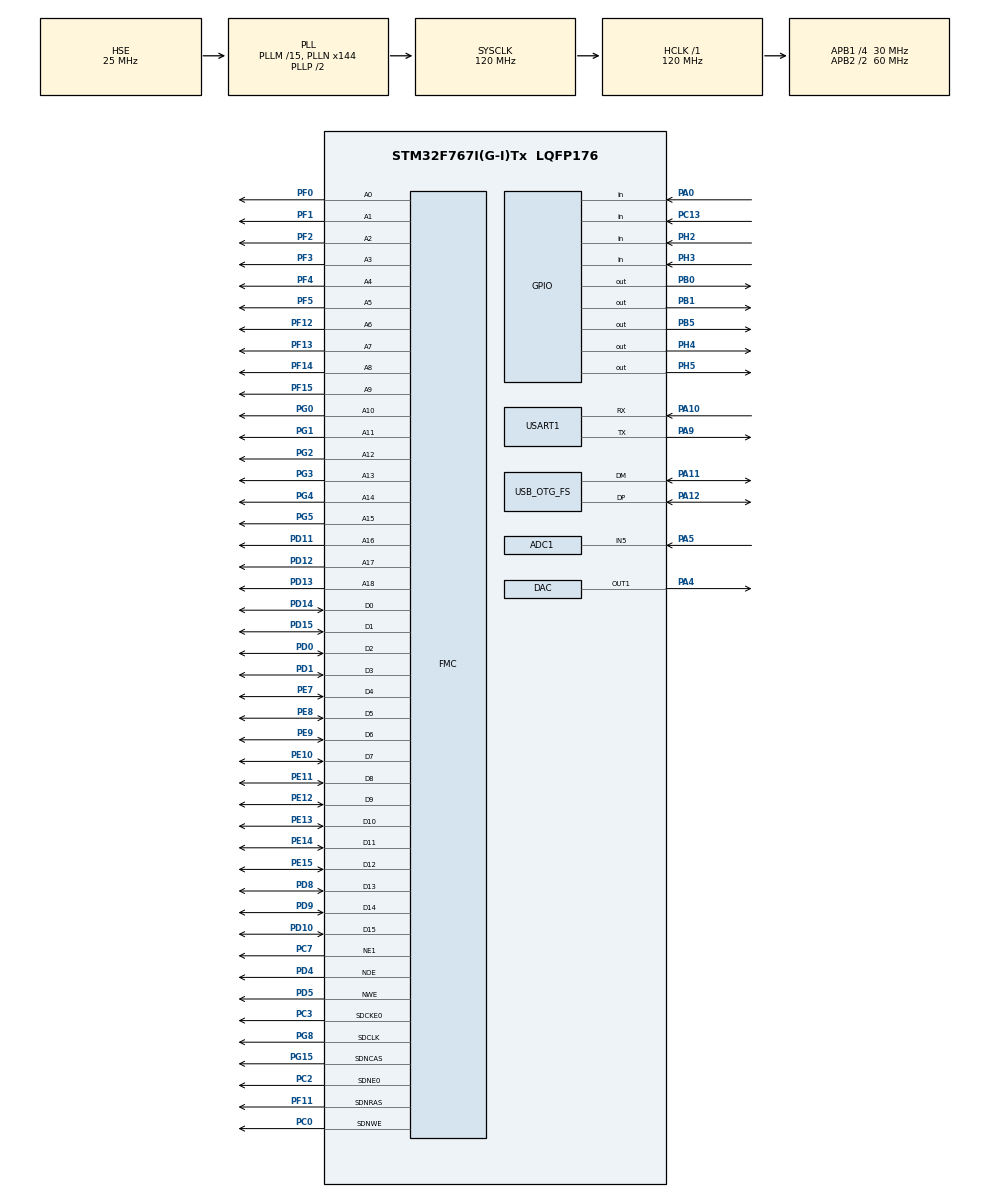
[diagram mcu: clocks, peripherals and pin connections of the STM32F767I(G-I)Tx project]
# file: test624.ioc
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SH.FMC_D7_DA7.1=FMC_D7,sd-16b-d1
SH.FMC_D7_DA7.0=FMC_D7,16b-d1
FMC.SDClockPeriod2=FMC_SDRAM_CLOCK_PERIOD_2
FMC.RCDDelay1=2
FMC.SDClockPeriod1=FMC_SDRAM_CLOCK_PERIOD_2
SH.FMC_A0.0=FMC_A0,19b-a1
SH.FMC_A0.1=FMC_A0,13b-sda1
PA10.GPIO_PuPd=GPIO_PULLUP
PG4.Signal=FMC_A14_BA0
PG8.Signal=FMC_SDCLK
PG0.Signal=FMC_A10
FMC.LoadToActiveDelay1=2
SH.FMC_D5_DA5.1=FMC_D5,sd-16b-d1
SH.FMC_D5_DA5.0=FMC_D5,16b-d1
SH.FMC_NWE.0=FMC_NWE,Sram1
RCC.SYSCLKSource=RCC_SYSCLKSOURCE_PLLCLK
SH.FMC_A15_BA1.0=FMC_A15,19b-a1
SH.FMC_A15_BA1.1=FMC_BA1,FourSdramBanks1
SH.FMC_D9_DA9.0=FMC_D9,16b-d1
SH.FMC_D9_DA9.1=FMC_D9,sd-16b-d1
PH5.Signal=GPIO_Output
SH.FMC_SDNWE.0=FMC_SDNWE,13b-sda1
SH.FMC_D11_DA11.0=FMC_D11,16b-d1
SH.FMC_D11_DA11.1=FMC_D11,sd-16b-d1
PH5.GPIO_ModeDefaultOutputPP=GPIO_MODE_OUTPUT_OD
PD4.Signal=FMC_NOE
RCC.APB2TimFreq_Value=120000000
PC7.Signal=FMC_NE1
PH1/OSC_OUT.Signal=RCC_OSC_OUT
PC3.Signal=FMC_SDCKE0
PD0.Signal=FMC_D2_DA2
PD8.Signal=FMC_D13_DA13
PA10.GPIO_ModeDefaultPP=GPIO_MODE_AF_PP
SH.FMC_A18.0=FMC_A18,19b-a1
FMC.SelfRefreshTime1=6
SH.FMC_A2.1=FMC_A2,13b-sda1
FMC.DataSetupTime1=85
PE9.Signal=FMC_D6_DA6
PB1.GPIO_Speed=GPIO_SPEED_FREQ_HIGH
SH.FMC_A2.0=FMC_A2,19b-a1
SH.FMC_D1_DA1.0=FMC_D1,16b-d1
SH.FMC_D1_DA1.1=FMC_D1,sd-16b-d1
PF3.Signal=FMC_A3
VP_FREERTOS_VS_CMSIS_V1.Mode=CMSIS_V1
PE10.Signal=FMC_D7_DA7
PH3.GPIO_PuPd=GPIO_PULLUP
ADC1.SamplingTime-0\#ChannelRegularConversion=ADC_SAMPLETIME_3CYCLES
Mcu.Package=LQFP176
PB1.Signal=GPIO_Output
NVIC.TimeBase=TIM1_UP_TIM10_IRQn
PD12.Signal=FMC_A17_ALE
FMC.ExtendedDataSetupTime1=15
NVIC.TimeBaseIP=TIM1
PA10.Signal=USART1_RX
FMC.WriteRecoveryTime1=4
SH.FMC_A1.1=FMC_A1,13b-sda1
SH.FMC_A1.0=FMC_A1,19b-a1
PH4.PinState=GPIO_PIN_SET
PH2.Signal=GPIO_Input
RCC.APB2CLKDivider=RCC_HCLK_DIV2
SH.FMC_SDCLK.0=FMC_SDCLK,13b-sda1
PF14.Signal=FMC_A8
RCC.APB1TimFreq_Value=60000000
PH5.GPIO_Speed=GPIO_SPEED_FREQ_HIGH
FMC.RowCycleDelay2=6
FMC.RowCycleDelay1=6
NVIC.USART1_IRQn=true\:5\:0\:false\:false\:true\:true\:true\:true
FMC.ColumnBitsNumber1=FMC_SDRAM_COLUMN_BITS_NUM_9
PD15.Signal=FMC_D1_DA1
SH.FMC_D3_DA3.0=FMC_D3,16b-d1
SH.FMC_D3_DA3.1=FMC_D3,sd-16b-d1
SH.FMC_A4.0=FMC_A4,19b-a1
SH.FMC_A4.1=FMC_A4,13b-sda1
FREERTOS.Tasks01=defaultTask,0,128,StartDefaultTask,Default,NULL,Dynamic,NULL,NULL;USART_REC,-3,128,UASRT_RE,As external,NULL,Dynamic,NULL,NULL;KeyScan,-3,128,Key_Scan,As external,NULL,Dynamic,NULL,NULL;TP_Task,-3,128,TP_test,As external,NULL,Dynamic,NULL,NULL
ADC1.Rank-0\#ChannelRegularConversion=1
FMC.ExtendedMode1=FMC_EXTENDED_MODE_ENABLE
PG5.Signal=FMC_A15_BA1
SH.FMC_D10_DA10.1=FMC_D10,sd-16b-d1
FMC.WriteFifo1=FMC_WRITE_FIFO_DISABLE
PC13.Signal=GPIO_Input
SH.FMC_D10_DA10.0=FMC_D10,16b-d1
FREERTOS.INCLUDE_vTaskDelayUntil=0
PC2.Signal=FMC_SDNE0
PD1.Signal=FMC_D3_DA3
PH5.PinState=GPIO_PIN_SET
PC0.Signal=FMC_SDNWE
RCC.APB1CLKDivider=RCC_HCLK_DIV4
SH.FMC_NOE.0=FMC_NOE,Sram1
PD10.Signal=FMC_D15_DA15
SH.FMC_A3.1=FMC_A3,13b-sda1
SH.FMC_A3.0=FMC_A3,19b-a1
FMC.CASLatency1=FMC_SDRAM_CAS_LATENCY_3
SH.FMC_D15_DA15.1=FMC_D15,sd-16b-d1
SH.FMC_D15_DA15.0=FMC_D15,16b-d1
PA9.Signal=USART1_TX
FMC.ExtendedBusTurnAroundDuration1=1
PA5.Signal=ADCx_IN5
FMC.ReadBurst1=FMC_SDRAM_RBURST_ENABLE
SH.FMC_A6.0=FMC_A6,19b-a1
FMC.ReadBurst2=FMC_SDRAM_RBURST_ENABLE
PE14.Signal=FMC_D11_DA11
SH.FMC_A6.1=FMC_A6,13b-sda1
PE15.Signal=FMC_D12_DA12
PE8.Signal=FMC_D5_DA5
PH4.GPIO_Speed=GPIO_SPEED_FREQ_HIGH
PF13.Signal=FMC_A7
PA0/WKUP.GPIO_PuPd=GPIO_PULLDOWN
PA13.Mode=Serial_Wire
SH.FMC_SDNCAS.0=FMC_SDNCAS,13b-sda1
PA4.Signal=COMP_DAC1_group
PB5.Signal=GPIO_Output
ADC1.master=1
PD11.Signal=FMC_A16_CLE
SH.FMC_A5.1=FMC_A5,13b-sda1
SH.FMC_A5.0=FMC_A5,19b-a1
PA11.Signal=USB_OTG_FS_DM
ProjectManager.HeapSize=0x1000
NVIC.TIM1_UP_TIM10_IRQn=true\:0\:0\:false\:false\:true\:false\:false\:true
SH.ADCx_IN5.0=ADC1_IN5,IN5
NVIC.PriorityGroup=NVIC_PRIORITYGROUP_4
PC15/OSC32_OUT.Signal=RCC_OSC32_OUT
PF4.Signal=FMC_A4
PB0.Signal=GPIO_Output
Mcu.Family=STM32F7
PC3.Mode=SdramChipSelect1_1
USB_DEVICE.CLASS_NAME_FS=CDC
SH.FMC_A8.0=FMC_A8,19b-a1
RCC.CortexFreq_Value=120000000
SH.FMC_A8.1=FMC_A8,13b-sda1
SH.FMC_D14_DA14.0=FMC_D14,16b-d1
SH.FMC_D14_DA14.1=FMC_D14,sd-16b-d1
PG2.Signal=FMC_A12
SH.FMC_D6_DA6.1=FMC_D6,sd-16b-d1
SH.FMC_D6_DA6.0=FMC_D6,16b-d1
PA11.Mode=Device_Only
PA0/WKUP.Signal=GPIO_Input
PC14/OSC32_IN.Mode=LSE-External-Oscillator
USB_DEVICE.VirtualMode-CDC_FS=Cdc
SH.FMC_A14_BA0.1=FMC_BA0,FourSdramBanks1
SH.FMC_A14_BA0.0=FMC_A14,19b-a1
SH.FMC_A11.0=FMC_A11,19b-a1
FMC.WriteOperation1=FMC_WRITE_OPERATION_ENABLE
PG15.Signal=FMC_SDNCAS
SH.FMC_A11.1=FMC_A11,13b-sda1
ProjectManager.StackSize=0x1000
PH2.GPIO_PuPd=GPIO_PULLUP
PD13.Signal=FMC_A18
SH.FMC_A7.1=FMC_A7,13b-sda1
SH.FMC_A7.0=FMC_A7,19b-a1
PA12.Signal=USB_OTG_FS_DP
PB1.GPIO_PuPd=GPIO_PULLUP
PH0/OSC_IN.Mode=HSE-External-Oscillator
RCC.HCLKFreq_Value=120000000
PB5.PinState=GPIO_PIN_SET
PF12.Signal=FMC_A6
PH4.GPIO_ModeDefaultOutputPP=GPIO_MODE_OUTPUT_OD
SH.FMC_A10.0=FMC_A10,19b-a1
RCC.AHBFreq_Value=120000000
SH.FMC_A10.1=FMC_A10,13b-sda1
ADC1.Channel-0\#ChannelRegularConversion=ADC_CHANNEL_5
RCC.HSE_VALUE=25000000
SH.FMC_D8_DA8.0=FMC_D8,16b-d1
SH.FMC_D8_DA8.1=FMC_D8,sd-16b-d1
FMC.ExitSelfRefreshDelay1=8
FMC.RPDelay2=2
FMC.RPDelay1=2
SH.FMC_D2_DA2.0=FMC_D2,16b-d1
PH4.GPIO_PuPd=GPIO_PULLUP
SH.FMC_D2_DA2.1=FMC_D2,sd-16b-d1
FMC.BusTurnAroundDuration1=1
PE13.Signal=FMC_D10_DA10
PA14.Mode=Serial_Wire
VP_SYS_VS_tim1.Mode=TIM1
TIM3.Prescaler=60
PF11.Signal=FMC_SDNRAS
PC13.GPIO_PuPd=GPIO_PULLUP
FMC.ReadPipeDelay1=FMC_SDRAM_RPIPE_DELAY_1
FMC.ReadPipeDelay2=FMC_SDRAM_RPIPE_DELAY_1
SH.FMC_SDNRAS.0=FMC_SDNRAS,13b-sda1
PH1/OSC_OUT.Mode=HSE-External-Oscillator
SH.FMC_A13.0=FMC_A13,19b-a1
SH.FMC_D0_DA0.0=FMC_D0,16b-d1
SH.FMC_D0_DA0.1=FMC_D0,sd-16b-d1
PC14/OSC32_IN.Signal=RCC_OSC32_IN
NVIC.OTG_FS_IRQn=true\:5\:0\:false\:false\:true\:true\:false\:true
SH.FMC_A9.1=FMC_A9,13b-sda1
USB_OTG_FS.VirtualMode=Device_Only
SH.FMC_A9.0=FMC_A9,19b-a1
SH.FMC_D4_DA4.1=FMC_D4,sd-16b-d1
SH.FMC_D4_DA4.0=FMC_D4,16b-d1
PF5.Signal=FMC_A5
PF0.Signal=FMC_A0
PE7.Signal=FMC_D4_DA4
VP_TIM3_VS_ClockSourceINT.Mode=Internal
SH.FMC_A12.0=FMC_A12,19b-a1
SH.FMC_A12.1=FMC_A12,13b-sda1
SH.COMP_DAC1_group.0=DAC_OUT1,DAC_OUT1
PA10.Mode=Asynchronous
USB_DEVICE.VirtualModeFS=Cdc_FS
PG3.Signal=FMC_A13
PG1.Signal=FMC_A11
PC2.Mode=SdramChipSelect1_1
PD9.Signal=FMC_D14_DA14
PD5.Signal=FMC_NWE
PB0.GPIO_Speed=GPIO_SPEED_FREQ_HIGH
USART1.VirtualMode-Asynchronous=VM_ASYNC
PA13.Signal=SYS_JTMS-SWDIO
PA9.Mode=Asynchronous
PH4.Signal=GPIO_Output
SH.FMC_A17_ALE.0=FMC_A17,19b-a1
ProjectManager.TargetToolchain=STM32CubeIDE
SH.FMC_D13_DA13.0=FMC_D13,16b-d1
SH.FMC_A16_CLE.0=FMC_A16,19b-a1
SH.FMC_D13_DA13.1=FMC_D13,sd-16b-d1
PH5.GPIO_PuPd=GPIO_PULLUP
VP_USB_DEVICE_VS_USB_DEVICE_CDC_FS.Mode=CDC_FS
PF2.Signal=FMC_A2
RCC.USBFreq_Value=48000000
PE11.Signal=FMC_D8_DA8
board=custom
RCC.VCOOutputFreq_Value=240000000
PH0/OSC_IN.Signal=RCC_OSC_IN
RCC.APB2Freq_Value=60000000
SH.FMC_D12_DA12.1=FMC_D12,sd-16b-d1
SH.FMC_D12_DA12.0=FMC_D12,16b-d1
PF15.Signal=FMC_A9
PF1.Signal=FMC_A1
Mcu.Name=STM32F767I(G-I)Tx
PE12.Signal=FMC_D9_DA9
PD14.Signal=FMC_D0_DA0
RCC.SYSCLKFreq_VALUE=120000000
PA12.Mode=Device_Only
PC15/OSC32_OUT.Mode=LSE-External-Oscillator
PA14.Signal=SYS_JTCK-SWCLK
RCC.HSI_VALUE=16000000
RCC.PLLQ=5
ADC1.NbrOfConversionFlag=1
PH3.Signal=GPIO_Input
RCC.PLLM=15
RCC.PLLN=144
PA9.GPIO_Speed=GPIO_SPEED_FREQ_VERY_HIGH
PC7.Mode=NorPsramChipSelect1_1
RCC.APB1Freq_Value=30000000
ADC1.ClockPrescaler=ADC_CLOCK_SYNC_PCLK_DIV4
PB0.GPIO_PuPd=GPIO_PULLUP

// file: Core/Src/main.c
/* USER CODE BEGIN Header */
/**
  ******************************************************************************
  * @file           : main.c
  * @brief          : Main program body
  ******************************************************************************
  * @attention
  *
  * <h2><center>&copy; Copyright (c) 2021 STMicroelectronics.
  * All rights reserved.</center></h2>
  *
  * This software component is licensed by ST under BSD 3-Clause license,
  * the "License"; You may not use this file except in compliance with the
  * License. You may obtain a copy of the License at:
  *                        opensource.org/licenses/BSD-3-Clause
  *
  ******************************************************************************
  */
/* USER CODE END Header */
#include "main.h"
#include "cmsis_os.h"
#include "adc.h"
#include "dac.h"
#include "tim.h"
#include "usart.h"
#include "usb_device.h"
#include "gpio.h"
#include "fmc.h"

/* USER CODE BEGIN Includes */
#include "stdio.h"
#include "usmart.h"
#include "ap3216c.h"
#include "pcf8574.h"
#include "24cxx.h"
#include "touch.h"
#include "sdram.h"
/* USER CODE END Includes */

void SystemClock_Config(void);
void MX_FREERTOS_Init(void);

int main(void)
{

  /* MCU Configuration--------------------------------------------------------*/

  /* Reset of all peripherals, Initializes the Flash interface and the Systick. */
  HAL_Init();

  /* Configure the system clock */
  SystemClock_Config();

  /* Initialize all configured peripherals */
  MX_GPIO_Init();
  MX_USART1_UART_Init();
  MX_TIM3_Init();
  MX_FMC_Init();
  MX_ADC1_Init();
  MX_DAC_Init();
  /* USER CODE BEGIN 2 */
  TFTLCD_Init();                     //初始化LCD
  usmart_dev.init(108); 		    //初始化USMART
  tp_dev.init();				    //触摸屏初始化
  //GUI_SetBkColor(GUI_);

  printf("Test Start\r\n");
  fsmc_sdram_test(30,170);
  if(!(AP3216C_Init()))printf("AP3216C_Init OK\r\n");
  if(!(PCF8574_Init()))printf("PCF8574_Init OK\r\n");
  if(!(AT24CXX_Check()))printf("AT24CXX_Check OK\r\n");
  POINT_COLOR=RED;
  delay_ms(1500);
  Load_Drow_Dialog();
  /* USER CODE END 2 */

  /* Call init function for freertos objects (in freertos.c) */
  MX_FREERTOS_Init();
  /* Start scheduler */
  osKernelStart();

  /* We should never get here as control is now taken by the scheduler */
  /* Infinite loop */
  while (1)
  {

  }
}

void SystemClock_Config(void)
{
  RCC_OscInitTypeDef RCC_OscInitStruct = {0};
  RCC_ClkInitTypeDef RCC_ClkInitStruct = {0};
  RCC_PeriphCLKInitTypeDef PeriphClkInitStruct = {0};

  /** Configure LSE Drive Capability
  */
  HAL_PWR_EnableBkUpAccess();
  /** Configure the main internal regulator output voltage
  */
  __HAL_RCC_PWR_CLK_ENABLE();
  __HAL_PWR_VOLTAGESCALING_CONFIG(PWR_REGULATOR_VOLTAGE_SCALE3);
  /** Initializes the RCC Oscillators according to the specified parameters
  * in the RCC_OscInitTypeDef structure.
  */
  RCC_OscInitStruct.OscillatorType = RCC_OSCILLATORTYPE_HSE;
  RCC_OscInitStruct.HSEState = RCC_HSE_ON;
  RCC_OscInitStruct.PLL.PLLState = RCC_PLL_ON;
  RCC_OscInitStruct.PLL.PLLSource = RCC_PLLSOURCE_HSE;
  RCC_OscInitStruct.PLL.PLLM = 15;
  RCC_OscInitStruct.PLL.PLLN = 144;
  RCC_OscInitStruct.PLL.PLLP = RCC_PLLP_DIV2;
  RCC_OscInitStruct.PLL.PLLQ = 5;
  if (HAL_RCC_OscConfig(&RCC_OscInitStruct) != HAL_OK)
  {
    Error_Handler();
  }
  /** Initializes the CPU, AHB and APB buses clocks
  */
  RCC_ClkInitStruct.ClockType = RCC_CLOCKTYPE_HCLK|RCC_CLOCKTYPE_SYSCLK
                              |RCC_CLOCKTYPE_PCLK1|RCC_CLOCKTYPE_PCLK2;
  RCC_ClkInitStruct.SYSCLKSource = RCC_SYSCLKSOURCE_PLLCLK;
  RCC_ClkInitStruct.AHBCLKDivider = RCC_SYSCLK_DIV1;
  RCC_ClkInitStruct.APB1CLKDivider = RCC_HCLK_DIV4;
  RCC_ClkInitStruct.APB2CLKDivider = RCC_HCLK_DIV2;

  if (HAL_RCC_ClockConfig(&RCC_ClkInitStruct, FLASH_LATENCY_3) != HAL_OK)
  {
    Error_Handler();
  }
  PeriphClkInitStruct.PeriphClockSelection = RCC_PERIPHCLK_USART1|RCC_PERIPHCLK_CLK48;
  PeriphClkInitStruct.Usart1ClockSelection = RCC_USART1CLKSOURCE_PCLK2;
  PeriphClkInitStruct.Clk48ClockSelection = RCC_CLK48SOURCE_PLL;
  if (HAL_RCCEx_PeriphCLKConfig(&PeriphClkInitStruct) != HAL_OK)
  {
    Error_Handler();
  }
}

 /**
  * @brief  Period elapsed callback in non blocking mode
  * @note   This function is called  when TIM1 interrupt took place, inside
  * HAL_TIM_IRQHandler(). It makes a direct call to HAL_IncTick() to increment
  * a global variable "uwTick" used as application time base.
  * @param  htim : TIM handle
  * @retval None
  */
void HAL_TIM_PeriodElapsedCallback(TIM_HandleTypeDef *htim)
{
  if (htim->Instance == TIM1) {
    HAL_IncTick();
  }
}

void Error_Handler(void)
{
  __disable_irq();
  while (1)
  {
  }
}

/************************ (C) COPYRIGHT STMicroelectronics *****END OF FILE****/

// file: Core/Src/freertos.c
/* USER CODE BEGIN Header */
/**
  ******************************************************************************
  * File Name          : freertos.c
  * Description        : Code for freertos applications
  ******************************************************************************
  * @attention
  *
  * <h2><center>&copy; Copyright (c) 2021 STMicroelectronics.
  * All rights reserved.</center></h2>
  *
  * This software component is licensed by ST under Ultimate Liberty license
  * SLA0044, the "License"; You may not use this file except in compliance with
  * the License. You may obtain a copy of the License at:
  *                             www.st.com/SLA0044
  *
  ******************************************************************************
  */
/* USER CODE END Header */

#include "FreeRTOS.h"
#include "task.h"
#include "main.h"
#include "cmsis_os.h"

/* USER CODE BEGIN Includes */
#include "stdio.h"
#include "sys.h"
#include "gpio.h"
#include "usart.h"
#include "usb_device.h"
#include "usbd_cdc_if.h"
#include "usmart.h"
#include "mytasks.h"
/* USER CODE END Includes */

osThreadId defaultTaskHandle;
osThreadId USART_RECHandle;
osThreadId KeyScanHandle;
osThreadId TP_TaskHandle;

void StartDefaultTask(void const * argument);
extern void UASRT_RE(void const * argument);
extern void Key_Scan(void const * argument);
extern void TP_test(void const * argument);

extern void MX_USB_DEVICE_Init(void);
void MX_FREERTOS_Init(void); /* (MISRA C 2004 rule 8.1) */

/* GetIdleTaskMemory prototype (linked to static allocation support) */
void vApplicationGetIdleTaskMemory( StaticTask_t **ppxIdleTaskTCBBuffer, StackType_t **ppxIdleTaskStackBuffer, uint32_t *pulIdleTaskStackSize );

/* USER CODE BEGIN GET_IDLE_TASK_MEMORY */
static StaticTask_t xIdleTaskTCBBuffer;
static StackType_t xIdleStack[configMINIMAL_STACK_SIZE];

void vApplicationGetIdleTaskMemory( StaticTask_t **ppxIdleTaskTCBBuffer, StackType_t **ppxIdleTaskStackBuffer, uint32_t *pulIdleTaskStackSize )
{
  *ppxIdleTaskTCBBuffer = &xIdleTaskTCBBuffer;
  *ppxIdleTaskStackBuffer = &xIdleStack[0];
  *pulIdleTaskStackSize = configMINIMAL_STACK_SIZE;
  /* place for user code */
}
/* USER CODE END GET_IDLE_TASK_MEMORY */

void MX_FREERTOS_Init(void) {

  /* Create the thread(s) */
  /* definition and creation of defaultTask */
  osThreadDef(defaultTask, StartDefaultTask, osPriorityNormal, 0, 128);
  defaultTaskHandle = osThreadCreate(osThread(defaultTask), NULL);

  /* definition and creation of USART_REC */
  osThreadDef(USART_REC, UASRT_RE, osPriorityIdle, 0, 128);
  USART_RECHandle = osThreadCreate(osThread(USART_REC), NULL);

  /* definition and creation of KeyScan */
  osThreadDef(KeyScan, Key_Scan, osPriorityIdle, 0, 128);
  KeyScanHandle = osThreadCreate(osThread(KeyScan), NULL);

  /* definition and creation of TP_Task */
  osThreadDef(TP_Task, TP_test, osPriorityIdle, 0, 128);
  TP_TaskHandle = osThreadCreate(osThread(TP_Task), NULL);

}

void StartDefaultTask(void const * argument)
{
  /* init code for USB_DEVICE */
  MX_USB_DEVICE_Init();
  /* USER CODE BEGIN StartDefaultTask */
  /* Infinite loop */
  for(;;)
  {
	LED1_Toggle;
	//printf("sys running\r\n");
    osDelay(500);
  }
  /* USER CODE END StartDefaultTask */
}

/************************ (C) COPYRIGHT STMicroelectronics *****END OF FILE****/
